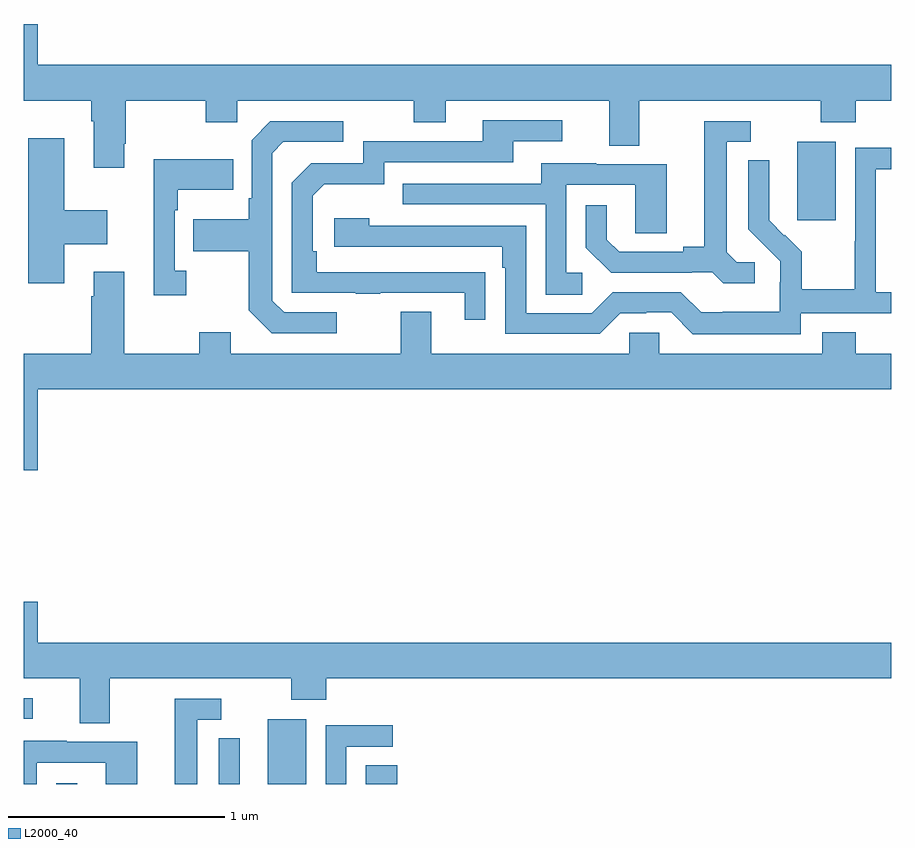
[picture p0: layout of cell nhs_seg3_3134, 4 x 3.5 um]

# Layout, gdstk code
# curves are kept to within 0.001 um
import gdstk
lib = gdstk.Library(unit=1e-6, precision=1e-09)
def R(c, l, rs):  # rectangles x0, y0, x1, y1
    for r in rs: c.add(gdstk.rectangle(r[:2], r[2:], *l))
def P(c, l, *ps):  # polygons
    for p in ps: c.add(gdstk.Polygon(p, *l))
L2000_40 = (2000, 40)

nhs_seg3_3134 = lib.new_cell('nhs_seg3_3134')
R(nhs_seg3_3134, L2000_40, [(273.15,728.4,273.247,728.404), (274.124,728.4,274.303,728.698), (274.577,728.4,274.721,728.486), (273,728.7,273.04,728.796), (276.566,731.001,276.745,731.362)])
P(nhs_seg3_3134, L2000_40, [(273,731.905),(273,731.552),(273.311,731.552),(273.311,731.456),(273.323,731.456),(273.323,731.241),(273.463,731.241),(273.463,731.353),(273.471,731.353),(273.471,731.552),(273.838,731.552),(273.838,731.453),(273.984,731.453),(273.984,731.552),(274.798,731.552),(274.798,731.453),(274.945,731.453),(274.945,731.552),(275.699,731.552),(275.699,731.344),(275.839,731.344),(275.839,731.552),(276.676,731.552),(276.676,731.453),(276.836,731.453),(276.836,731.552),(277,731.552),(277,731.716),(273.064,731.716),(273.064,731.905)],
  [(275.129,730.76),(274.352,730.761),(274.352,730.858),(274.332,730.858),(274.332,731.112),(274.385,731.165),(274.662,731.165),(274.662,731.268),(275.257,731.268),(275.257,731.364),(275.482,731.364),(275.482,731.46),(275.117,731.46),(275.117,731.364),(274.566,731.364),(274.566,731.262),(274.326,731.262),(274.236,731.172),(274.236,730.665),(274.531,730.665),(274.531,730.66),(274.643,730.66),(274.643,730.665),(275.033,730.665),(275.033,730.542),(275.129,730.542)],
  [(274.444,730.575),(274.2,730.575),(274.146,730.629),(274.146,731.31),(274.197,731.361),(274.474,731.361),(274.474,731.457),(274.137,731.457),(274.05,731.37),(274.05,731.101),(274.038,731.101),(274.038,731.005),(273.781,731.005),(273.781,730.858),(274.038,730.858),(274.038,730.585),(274.143,730.479),(274.444,730.479)],
  [(276.37,730.806),(276.288,730.806),(276.241,730.853),(276.241,731.361),(276.352,731.361),(276.352,731.457),(276.137,731.457),(276.137,730.877),(276.041,730.877),(276.041,730.854),(275.746,730.854),(275.689,730.911),(275.689,731.068),(275.592,731.068),(275.592,730.874),(275.708,730.758),(276.08,730.758),(276.08,730.761),(276.174,730.761),(276.226,730.709),(276.37,730.709)],
  [(273.187,730.889),(273.385,730.889),(273.385,731.047),(273.187,731.047),(273.187,731.377),(273.02,731.377),(273.02,730.71),(273.187,730.71)],
  [(276.582,730.572),(277,730.572),(277,730.668),(276.93,730.668),(276.93,731.235),(277,731.235),(277,731.334),(276.834,731.334),(276.834,730.904),(276.832,730.904),(276.832,730.681),(276.587,730.681),(276.587,730.855),(276.51,730.932),(276.507,730.929),(276.437,731),(276.438,731.276),(276.342,731.276),(276.342,730.958),(276.488,730.81),(276.488,730.713),(276.486,730.713),(276.486,730.579),(276.223,730.579),(276.223,730.575),(276.123,730.575),(276.03,730.668),(275.715,730.668),(275.619,730.572),(275.316,730.572),(275.316,730.974),(274.592,730.974),(274.592,731.008),(274.431,731.008),(274.431,730.878),(275.207,730.878),(275.207,730.781),(275.22,730.781),(275.22,730.476),(275.655,730.476),(275.751,730.572),(275.87,730.572),(275.87,730.575),(275.985,730.575),(276.085,730.475),(276.582,730.475)],
  [(273.748,730.766),(273.696,730.766),(273.696,731.045),(273.709,731.045),(273.709,731.141),(273.965,731.141),(273.965,731.281),(273.599,731.281),(273.599,730.653),(273.748,730.653)],
  [(275.575,730.758),(275.502,730.758),(275.502,731.163),(275.82,731.163),(275.82,730.939),(275.965,730.939),(275.965,731.259),(275.641,731.259),(275.641,731.263),(275.387,731.263),(275.387,731.169),(274.747,731.169),(274.747,731.073),(275.406,731.073),(275.406,730.657),(275.575,730.657)],
  [(273.064,730.22),(277,730.22),(277,730.384),(276.836,730.384),(276.836,730.483),(276.683,730.483),(276.683,730.384),(275.931,730.384),(275.931,730.482),(275.793,730.482),(275.793,730.384),(274.879,730.384),(274.879,730.579),(274.739,730.579),(274.739,730.384),(273.955,730.384),(273.955,730.483),(273.808,730.483),(273.808,730.384),(273.463,730.384),(273.463,730.762),(273.323,730.762),(273.323,730.649),(273.311,730.649),(273.311,730.384),(273,730.384),(273,729.846),(273.064,729.846)],
  [(273.397,728.888),(274.234,728.888),(274.234,728.789),(274.394,728.789),(274.394,728.888),(277,728.888),(277,729.052),(273.064,729.052),(273.064,729.241),(273,729.241),(273,728.888),(273.257,728.888),(273.257,728.68),(273.397,728.68)],
  [(273.799,728.697),(273.91,728.697),(273.91,728.793),(273.695,728.793),(273.695,728.4),(273.799,728.4)],
  [(274.488,728.571),(274.702,728.571),(274.702,728.67),(274.392,728.67),(274.392,728.4),(274.488,728.4)],
  [(273.995,728.458),(273.996,728.458),(273.996,728.612),(273.9,728.612),(273.9,728.4),(273.995,728.4)],
  [(273.06,728.499),(273.378,728.499),(273.378,728.4),(273.523,728.4),(273.523,728.595),(273.199,728.595),(273.199,728.599),(273,728.599),(273,728.4),(273.06,728.4)])

lib.write_gds('nhs_seg3_3134.gds')
